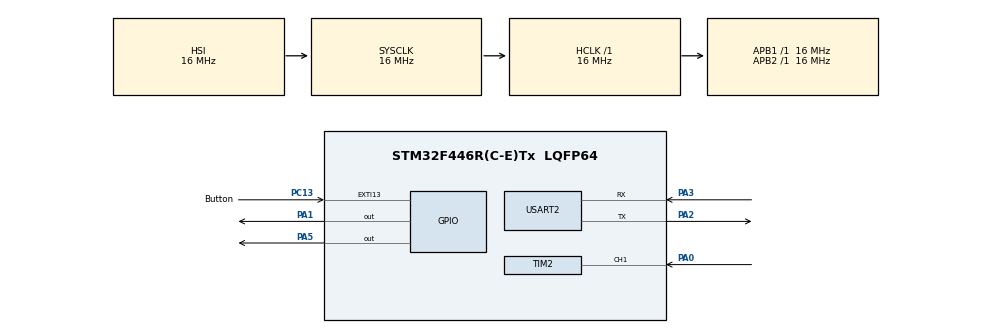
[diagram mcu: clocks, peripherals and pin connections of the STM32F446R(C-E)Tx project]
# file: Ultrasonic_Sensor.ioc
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Mcu.Family=STM32F4
Mcu.Name=STM32F446R(C-E)Tx
Mcu.Package=LQFP64
NVIC.PriorityGroup=NVIC_PRIORITYGROUP_0
NVIC.TIM2_IRQn=true\:0\:0\:false\:false\:true\:true\:true\:true
PA0-WKUP.Signal=S_TIM2_CH1_ETR
PA1.Signal=GPIO_Output
PA2.Mode=Asynchronous
PA2.Signal=USART2_TX
PA3.Mode=Asynchronous
PA3.Signal=USART2_RX
PA5.Signal=GPIO_Output
PC13.GPIO_Label=Button
PC13.Signal=GPXTI13
ProjectManager.HeapSize=0x200
ProjectManager.StackSize=0x400
ProjectManager.TargetToolchain=STM32CubeIDE
RCC.48MHZClocksFreq_Value=84000000
RCC.AHBFreq_Value=16000000
RCC.APB1Freq_Value=16000000
RCC.APB1TimFreq_Value=16000000
RCC.APB2Freq_Value=16000000
RCC.APB2TimFreq_Value=16000000
RCC.CortexFreq_Value=16000000
RCC.FLatency-AdvancedSettings=FLASH_LATENCY_0
RCC.HCLKFreq_Value=16000000
RCC.HSE_VALUE=8000000
RCC.HSI_VALUE=16000000
RCC.PLLN=336
RCC.PLLP=RCC_PLLP_DIV4
RCC.SYSCLKFreq_VALUE=16000000
RCC.USBFreq_Value=168000000
RCC.VCOOutputFreq_Value=336000000
SH.S_TIM2_CH1_ETR.0=TIM2_CH1,Input_Capture1_from_TI1
TIM2.Channel-Input_Capture1_from_TI1=TIM_CHANNEL_1
TIM2.ICFilter_CH1=4
TIM2.ICPolarity_CH1=TIM_INPUTCHANNELPOLARITY_BOTHEDGE
TIM2.Prescaler=16-1
TIM6.Period=10
TIM6.Prescaler=16-1
TIM7.Period=3
TIM7.Prescaler=16-1
USART2.VirtualMode=VM_ASYNC
VP_TIM2_VS_ClockSourceINT.Mode=Internal
VP_TIM6_VS_ClockSourceINT.Mode=Enable_Timer
VP_TIM7_VS_ClockSourceINT.Mode=Enable_Timer
board=NUCLEO-F446RE

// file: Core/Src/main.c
/* USER CODE BEGIN Header */
/**
  ******************************************************************************
  * @file           : main.c
  * @brief          : Main program body
  ******************************************************************************
  * @attention
  *
  * Copyright (c) 2023 STMicroelectronics.
  * All rights reserved.
  *
  * This software is licensed under terms that can be found in the LICENSE file
  * in the root directory of this software component.
  * If no LICENSE file comes with this software, it is provided AS-IS.
  *
  ******************************************************************************
  */
/* USER CODE END Header */
#include "main.h"

TIM_HandleTypeDef htim2;
TIM_HandleTypeDef htim6;
TIM_HandleTypeDef htim7;

UART_HandleTypeDef huart2;

void SystemClock_Config(void);
static void MX_GPIO_Init(void);
static void MX_USART2_UART_Init(void);
static void MX_TIM2_Init(void);
static void MX_TIM6_Init(void);
static void MX_TIM7_Init(void);
/* USER CODE BEGIN PFP */
void distance_calculator(void);
/* USER CODE END PFP */

/* USER CODE BEGIN 0 */
uint8_t icFlag = 0;
uint8_t captureIdx = 0;
uint32_t edge1Time = 0, edge2Time = 0;

const float speedOfSound = 0.0343 / 2;
float distance;

char uartBuf[100];
/* USER CODE END 0 */

int main(void)
{

  /* MCU Configuration--------------------------------------------------------*/

  /* Reset of all peripherals, Initializes the Flash interface and the Systick. */
  HAL_Init();

  /* Configure the system clock */
  SystemClock_Config();

  /* Initialize all configured peripherals */
  MX_GPIO_Init();
  MX_USART2_UART_Init();
  MX_TIM2_Init();
  MX_TIM6_Init();
  MX_TIM7_Init();

  /* Infinite loop */
  while (1)
  {

    /* USER CODE BEGIN 3 */
	  distance_calculator();
  }
  /* USER CODE END 3 */
}

void SystemClock_Config(void)
{
  RCC_OscInitTypeDef RCC_OscInitStruct = {0};
  RCC_ClkInitTypeDef RCC_ClkInitStruct = {0};

  /** Configure the main internal regulator output voltage
  */
  __HAL_RCC_PWR_CLK_ENABLE();
  __HAL_PWR_VOLTAGESCALING_CONFIG(PWR_REGULATOR_VOLTAGE_SCALE3);

  /** Initializes the RCC Oscillators according to the specified parameters
  * in the RCC_OscInitTypeDef structure.
  */
  RCC_OscInitStruct.OscillatorType = RCC_OSCILLATORTYPE_HSI;
  RCC_OscInitStruct.HSIState = RCC_HSI_ON;
  RCC_OscInitStruct.HSICalibrationValue = RCC_HSICALIBRATION_DEFAULT;
  RCC_OscInitStruct.PLL.PLLState = RCC_PLL_NONE;
  if (HAL_RCC_OscConfig(&RCC_OscInitStruct) != HAL_OK)
  {
    Error_Handler();
  }

  /** Initializes the CPU, AHB and APB buses clocks
  */
  RCC_ClkInitStruct.ClockType = RCC_CLOCKTYPE_HCLK|RCC_CLOCKTYPE_SYSCLK
                              |RCC_CLOCKTYPE_PCLK1|RCC_CLOCKTYPE_PCLK2;
  RCC_ClkInitStruct.SYSCLKSource = RCC_SYSCLKSOURCE_HSI;
  RCC_ClkInitStruct.AHBCLKDivider = RCC_SYSCLK_DIV1;
  RCC_ClkInitStruct.APB1CLKDivider = RCC_HCLK_DIV1;
  RCC_ClkInitStruct.APB2CLKDivider = RCC_HCLK_DIV1;

  if (HAL_RCC_ClockConfig(&RCC_ClkInitStruct, FLASH_LATENCY_0) != HAL_OK)
  {
    Error_Handler();
  }
}

static void MX_TIM2_Init(void)
{

  TIM_ClockConfigTypeDef sClockSourceConfig = {0};
  TIM_MasterConfigTypeDef sMasterConfig = {0};
  TIM_IC_InitTypeDef sConfigIC = {0};

  htim2.Instance = TIM2;
  htim2.Init.Prescaler = 16-1;
  htim2.Init.CounterMode = TIM_COUNTERMODE_UP;
  htim2.Init.Period = 4294967295;
  htim2.Init.ClockDivision = TIM_CLOCKDIVISION_DIV1;
  htim2.Init.AutoReloadPreload = TIM_AUTORELOAD_PRELOAD_DISABLE;
  if (HAL_TIM_Base_Init(&htim2) != HAL_OK)
  {
    Error_Handler();
  }
  sClockSourceConfig.ClockSource = TIM_CLOCKSOURCE_INTERNAL;
  if (HAL_TIM_ConfigClockSource(&htim2, &sClockSourceConfig) != HAL_OK)
  {
    Error_Handler();
  }
  if (HAL_TIM_IC_Init(&htim2) != HAL_OK)
  {
    Error_Handler();
  }
  sMasterConfig.MasterOutputTrigger = TIM_TRGO_RESET;
  sMasterConfig.MasterSlaveMode = TIM_MASTERSLAVEMODE_DISABLE;
  if (HAL_TIMEx_MasterConfigSynchronization(&htim2, &sMasterConfig) != HAL_OK)
  {
    Error_Handler();
  }
  sConfigIC.ICPolarity = TIM_INPUTCHANNELPOLARITY_BOTHEDGE;
  sConfigIC.ICSelection = TIM_ICSELECTION_DIRECTTI;
  sConfigIC.ICPrescaler = TIM_ICPSC_DIV1;
  sConfigIC.ICFilter = 4;
  if (HAL_TIM_IC_ConfigChannel(&htim2, &sConfigIC, TIM_CHANNEL_1) != HAL_OK)
  {
    Error_Handler();
  }

}

static void MX_TIM6_Init(void)
{

  TIM_MasterConfigTypeDef sMasterConfig = {0};

  htim6.Instance = TIM6;
  htim6.Init.Prescaler = 16-1;
  htim6.Init.CounterMode = TIM_COUNTERMODE_UP;
  htim6.Init.Period = 10;
  htim6.Init.AutoReloadPreload = TIM_AUTORELOAD_PRELOAD_DISABLE;
  if (HAL_TIM_Base_Init(&htim6) != HAL_OK)
  {
    Error_Handler();
  }
  sMasterConfig.MasterOutputTrigger = TIM_TRGO_RESET;
  sMasterConfig.MasterSlaveMode = TIM_MASTERSLAVEMODE_DISABLE;
  if (HAL_TIMEx_MasterConfigSynchronization(&htim6, &sMasterConfig) != HAL_OK)
  {
    Error_Handler();
  }

}

static void MX_TIM7_Init(void)
{

  TIM_MasterConfigTypeDef sMasterConfig = {0};

  htim7.Instance = TIM7;
  htim7.Init.Prescaler = 16-1;
  htim7.Init.CounterMode = TIM_COUNTERMODE_UP;
  htim7.Init.Period = 3;
  htim7.Init.AutoReloadPreload = TIM_AUTORELOAD_PRELOAD_DISABLE;
  if (HAL_TIM_Base_Init(&htim7) != HAL_OK)
  {
    Error_Handler();
  }
  sMasterConfig.MasterOutputTrigger = TIM_TRGO_RESET;
  sMasterConfig.MasterSlaveMode = TIM_MASTERSLAVEMODE_DISABLE;
  if (HAL_TIMEx_MasterConfigSynchronization(&htim7, &sMasterConfig) != HAL_OK)
  {
    Error_Handler();
  }

}

static void MX_USART2_UART_Init(void)
{

  huart2.Instance = USART2;
  huart2.Init.BaudRate = 115200;
  huart2.Init.WordLength = UART_WORDLENGTH_8B;
  huart2.Init.StopBits = UART_STOPBITS_1;
  huart2.Init.Parity = UART_PARITY_NONE;
  huart2.Init.Mode = UART_MODE_TX_RX;
  huart2.Init.HwFlowCtl = UART_HWCONTROL_NONE;
  huart2.Init.OverSampling = UART_OVERSAMPLING_16;
  if (HAL_UART_Init(&huart2) != HAL_OK)
  {
    Error_Handler();
  }

}

static void MX_GPIO_Init(void)
{
  GPIO_InitTypeDef GPIO_InitStruct = {0};

  /* GPIO Ports Clock Enable */
  __HAL_RCC_GPIOC_CLK_ENABLE();
  __HAL_RCC_GPIOA_CLK_ENABLE();

  /*Configure GPIO pin Output Level */
  HAL_GPIO_WritePin(GPIOA, GPIO_PIN_1|GPIO_PIN_5, GPIO_PIN_RESET);

  /*Configure GPIO pin : Button_Pin */
  GPIO_InitStruct.Pin = Button_Pin;
  GPIO_InitStruct.Mode = GPIO_MODE_IT_RISING;
  GPIO_InitStruct.Pull = GPIO_NOPULL;
  HAL_GPIO_Init(Button_GPIO_Port, &GPIO_InitStruct);

  /*Configure GPIO pins : PA1 PA5 */
  GPIO_InitStruct.Pin = GPIO_PIN_1|GPIO_PIN_5;
  GPIO_InitStruct.Mode = GPIO_MODE_OUTPUT_PP;
  GPIO_InitStruct.Pull = GPIO_NOPULL;
  GPIO_InitStruct.Speed = GPIO_SPEED_FREQ_LOW;
  HAL_GPIO_Init(GPIOA, &GPIO_InitStruct);

}

/* USER CODE BEGIN 4 */
void HAL_TIM_IC_CaptureCallback(TIM_HandleTypeDef *htim)
{
	if(captureIdx == 0)
	{
		edge1Time = HAL_TIM_ReadCapturedValue(htim, TIM_CHANNEL_1);
		captureIdx = 1;
	}
	else if(captureIdx == 1)
	{
		edge2Time = HAL_TIM_ReadCapturedValue(htim, TIM_CHANNEL_1);
		captureIdx = 0;
		icFlag = 1;
	}
}

void distance_calculator(void)
{
	HAL_TIM_Base_Start(&htim7);
	HAL_GPIO_WritePin(GPIOA, GPIO_PIN_1, GPIO_PIN_RESET);
	while( ! (TIM7->SR & TIM_SR_UIF) );
	TIM7->SR = 0;
	HAL_TIM_Base_Stop(&htim7);

	HAL_TIM_Base_Start(&htim6);
	HAL_GPIO_WritePin(GPIOA, GPIO_PIN_1, GPIO_PIN_SET);
	while( ! (TIM6->SR & TIM_SR_UIF) );
	TIM6->SR = 0;
	HAL_GPIO_WritePin(GPIOA, GPIO_PIN_1, GPIO_PIN_RESET);
	HAL_TIM_Base_Stop(&htim6);

	HAL_TIM_IC_Start_IT(&htim2, TIM_CHANNEL_1);
	uint32_t startTick = HAL_GetTick();
	do
	{
		if(icFlag) break;
	}while((HAL_GetTick() - startTick) < 500);
	icFlag = 0;
	HAL_TIM_IC_Stop_IT(&htim2, TIM_CHANNEL_1);

	if(edge2Time > edge1Time)
	{
		distance = (((edge2Time - edge1Time) + 0.0f) * speedOfSound);
	}
	else
	{
		distance = 0.0f;
	}

	sprintf(uartBuf, "Distance (centimeters) = %.1f\r\n", distance);
	HAL_UART_Transmit(&huart2, (uint8_t *)uartBuf, strlen(uartBuf), 100);

	HAL_Delay(200);
}
/* USER CODE END 4 */

void Error_Handler(void)
{
  __disable_irq();
  while (1)
  {
  }
}
